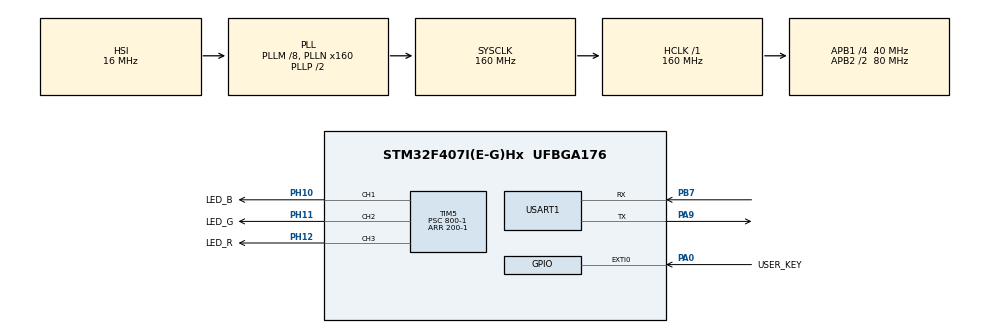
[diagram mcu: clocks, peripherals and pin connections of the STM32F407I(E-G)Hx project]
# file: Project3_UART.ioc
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Mcu.Family=STM32F4
Mcu.Name=STM32F407I(E-G)Hx
Mcu.Package=UFBGA176
NVIC.EXTI0_IRQn=true\:0\:0\:false\:false\:true\:true\:true\:true
NVIC.PriorityGroup=NVIC_PRIORITYGROUP_4
NVIC.TIM5_IRQn=true\:0\:0\:false\:false\:true\:true\:true\:true
NVIC.TIM6_DAC_IRQn=true\:0\:0\:false\:false\:true\:true\:true\:true
NVIC.USART1_IRQn=true\:0\:0\:false\:false\:true\:true\:true\:true
PA0-WKUP.GPIO_Label=USER_KEY
PA0-WKUP.GPIO_ModeDefaultEXTI=GPIO_MODE_IT_FALLING
PA0-WKUP.GPIO_PuPd=GPIO_PULLUP
PA0-WKUP.Signal=GPXTI0
PA13.Mode=Serial_Wire
PA13.Signal=SYS_JTMS-SWDIO
PA14.Mode=Serial_Wire
PA14.Signal=SYS_JTCK-SWCLK
PA9.Mode=Asynchronous
PA9.Signal=USART1_TX
PB7.Mode=Asynchronous
PB7.Signal=USART1_RX
PH0-OSC_IN.Mode=HSE-External-Oscillator
PH0-OSC_IN.Signal=RCC_OSC_IN
PH1-OSC_OUT.Mode=HSE-External-Oscillator
PH1-OSC_OUT.Signal=RCC_OSC_OUT
PH10.GPIO_Label=LED_B
PH10.Signal=S_TIM5_CH1
PH11.GPIO_Label=LED_G
PH11.Signal=S_TIM5_CH2
PH12.GPIO_Label=LED_R
PH12.Signal=S_TIM5_CH3
ProjectManager.HeapSize=0x200
ProjectManager.StackSize=0x400
ProjectManager.TargetToolchain=MDK-ARM V5.32
RCC.48MHZClocksFreq_Value=80000000
RCC.AHBFreq_Value=160000000
RCC.APB1CLKDivider=RCC_HCLK_DIV4
RCC.APB1Freq_Value=40000000
RCC.APB1TimFreq_Value=80000000
RCC.APB2CLKDivider=RCC_HCLK_DIV2
RCC.APB2Freq_Value=80000000
RCC.APB2TimFreq_Value=160000000
RCC.CortexFreq_Value=160000000
RCC.HCLKFreq_Value=160000000
RCC.HSE_VALUE=25000000
RCC.HSI_VALUE=16000000
RCC.LSE_VALUE=32768
RCC.PLLM=8
RCC.PLLN=160
RCC.SYSCLKFreq_VALUE=160000000
RCC.SYSCLKSource=RCC_SYSCLKSOURCE_PLLCLK
RCC.VCOOutputFreq_Value=320000000
SH.S_TIM5_CH1.0=TIM5_CH1,PWM Generation1 CH1
SH.S_TIM5_CH2.0=TIM5_CH2,PWM Generation2 CH2
SH.S_TIM5_CH3.0=TIM5_CH3,PWM Generation3 CH3
TIM5.Channel-PWM\ Generation1\ CH1=TIM_CHANNEL_1
TIM5.Channel-PWM\ Generation2\ CH2=TIM_CHANNEL_2
TIM5.Channel-PWM\ Generation3\ CH3=TIM_CHANNEL_3
TIM5.Period=200-1
TIM5.Prescaler=800-1
TIM5.Pulse-PWM\ Generation1\ CH1=0
TIM5.Pulse-PWM\ Generation2\ CH2=0
TIM5.Pulse-PWM\ Generation3\ CH3=0
TIM6.Period=4000-1
TIM6.Prescaler=40000-1
USART1.VirtualMode=VM_ASYNC
VP_TIM5_VS_ClockSourceINT.Mode=Internal
VP_TIM6_VS_ClockSourceINT.Mode=Enable_Timer
board=custom

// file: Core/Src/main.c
/* USER CODE BEGIN Header */
/**
  ******************************************************************************
  * @file           : main.c
  * @brief          : Main program body
  ******************************************************************************
  * @attention
  *
  * Copyright (c) 2024 STMicroelectronics.
  * All rights reserved.
  *
  * This software is licensed under terms that can be found in the LICENSE file
  * in the root directory of this software component.
  * If no LICENSE file comes with this software, it is provided AS-IS.
  *
  ******************************************************************************
  */
/* USER CODE END Header */
#include "main.h"
#include "gpio.h"
#include "tim.h"
#include "usart.h"

/* USER CODE BEGIN Includes */
#include <stdio.h>
/* USER CODE END Includes */

/* USER CODE BEGIN PD */

char rx_buffer[RX_DATA_LEN];

/* USER CODE END PD */

void SystemClock_Config(void);

/* USER CODE BEGIN 0 */

extern int led_id;

/* USER CODE END 0 */

int main(void) {

    /* MCU Configuration--------------------------------------------------------*/

    /* Reset of all peripherals, Initializes the Flash interface and the Systick. */
    HAL_Init();

    /* Configure the system clock */
    SystemClock_Config();

    /* Initialize all configured peripherals */
    MX_GPIO_Init();
    MX_TIM6_Init();
    MX_USART1_UART_Init();
    MX_TIM5_Init();
    /* USER CODE BEGIN 2 */
    HAL_TIM_Base_Start_IT(&htim6);
    HAL_TIM_PWM_Start_IT(&htim5, TIM_CHANNEL_1);
    HAL_TIM_PWM_Start_IT(&htim5, TIM_CHANNEL_2);
    HAL_TIM_PWM_Start_IT(&htim5, TIM_CHANNEL_3);
    HAL_UART_Receive_IT(&huart1, (uint8_t*)rx_buffer, RX_DATA_LEN);
    /* USER CODE END 2 */

    /* Infinite loop */
    /* USER CODE BEGIN WHILE */
    int cnt = 0, dir = 1;

    while (1) {
        /* USER CODE END WHILE */

        /* USER CODE BEGIN 3 */
        if (led_id == 0) {
            TIM5->CCR1 = cnt;
            TIM5->CCR2 = 0;
            TIM5->CCR3 = 0;
        } else if (led_id == 1) {
            TIM5->CCR1 = 0;
            TIM5->CCR2 = cnt;
            TIM5->CCR3 = 0;
        } else if (led_id == 2) {
            TIM5->CCR1 = 0;
            TIM5->CCR2 = 0;
            TIM5->CCR3 = cnt;
        }
        cnt += dir;
        if (cnt >= TIM5->ARR) {
            dir = -1;
        }
        if (cnt <= 0) {
            dir = 1;
        }
        HAL_Delay(7);
    }
    /* USER CODE END 3 */
}

void SystemClock_Config(void) {
    RCC_OscInitTypeDef RCC_OscInitStruct = { 0 };
    RCC_ClkInitTypeDef RCC_ClkInitStruct = { 0 };

    /** Configure the main internal regulator output voltage
  */
    __HAL_RCC_PWR_CLK_ENABLE();
    __HAL_PWR_VOLTAGESCALING_CONFIG(PWR_REGULATOR_VOLTAGE_SCALE1);

    /** Initializes the RCC Oscillators according to the specified parameters
  * in the RCC_OscInitTypeDef structure.
  */
    RCC_OscInitStruct.OscillatorType = RCC_OSCILLATORTYPE_HSI;
    RCC_OscInitStruct.HSIState = RCC_HSI_ON;
    RCC_OscInitStruct.HSICalibrationValue = RCC_HSICALIBRATION_DEFAULT;
    RCC_OscInitStruct.PLL.PLLState = RCC_PLL_ON;
    RCC_OscInitStruct.PLL.PLLSource = RCC_PLLSOURCE_HSI;
    RCC_OscInitStruct.PLL.PLLM = 8;
    RCC_OscInitStruct.PLL.PLLN = 160;
    RCC_OscInitStruct.PLL.PLLP = RCC_PLLP_DIV2;
    RCC_OscInitStruct.PLL.PLLQ = 4;
    if (HAL_RCC_OscConfig(&RCC_OscInitStruct) != HAL_OK) {
        Error_Handler();
    }

    /** Initializes the CPU, AHB and APB buses clocks
  */
    RCC_ClkInitStruct.ClockType = RCC_CLOCKTYPE_HCLK | RCC_CLOCKTYPE_SYSCLK | RCC_CLOCKTYPE_PCLK1 | RCC_CLOCKTYPE_PCLK2;
    RCC_ClkInitStruct.SYSCLKSource = RCC_SYSCLKSOURCE_PLLCLK;
    RCC_ClkInitStruct.AHBCLKDivider = RCC_SYSCLK_DIV1;
    RCC_ClkInitStruct.APB1CLKDivider = RCC_HCLK_DIV4;
    RCC_ClkInitStruct.APB2CLKDivider = RCC_HCLK_DIV2;

    if (HAL_RCC_ClockConfig(&RCC_ClkInitStruct, FLASH_LATENCY_5) != HAL_OK) {
        Error_Handler();
    }
}

/* USER CODE BEGIN 4 */

int _write(int file, char* ch, int len) {
    HAL_UART_Transmit(&huart1, (uint8_t*)ch, 1, 10);
    return 1;
}

/* USER CODE END 4 */

void Error_Handler(void) {
    __disable_irq();
    while (1) {
    }
}
